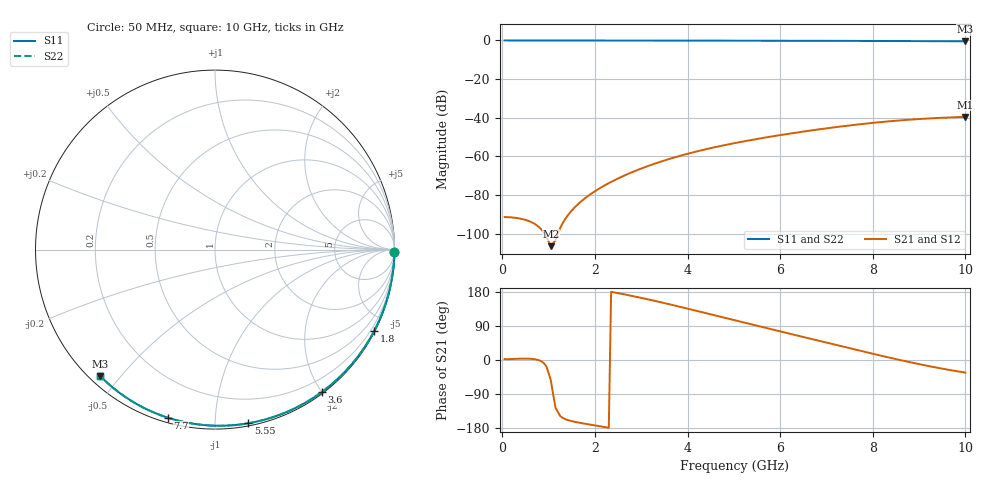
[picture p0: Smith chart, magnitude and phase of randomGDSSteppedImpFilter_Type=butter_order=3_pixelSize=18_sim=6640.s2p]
! freq	dB(S11)	phase(S11)	dB(S12)	phase(S12)
!  dB(S21)	phase(S21)	dB(S22)	phase(S22)
!S-par simulation data
#  GHz  S  DB  R 50
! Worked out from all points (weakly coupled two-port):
!   200 points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, 50 MHz to 10 GHz, reference 50 ohm
!   highest |S21| = -39.53 dB at 10 GHz (marker M1); lowest = -106.5 dB at 1.05 GHz (marker M2)
!   lowest |S11| = -0.4 dB at 10 GHz (marker M3), VSWR 40.21, Z = 1.49 - j22.2 ohm
!   |S11| at or under -10 dB: nowhere
!   |S22| runs from -0.4 to 0.0 dB; largest |S21 - S12| = 0
!   S11 on the Smith chart (normalised r, x): 50 MHz: open; 1.8 GHz: 0.04, -4.14; 3.6 GHz: 0.02, -2.00; 5.55 GHz: 0.02, -1.21; 7.7 GHz: 0.02, -0.76; 10 GHz: 0.03, -0.44
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0.05  -0.00 -0.8  -91.40 2.5  -91.40 2.5  -0.00 -0.8
0.55  -0.01 -8.4  -93.26 3.6  -93.26 3.6  -0.01 -8.4
1.05  -0.02 -16.0  -106.48 -54.9  -106.48 -54.9  -0.02 -16.0
1.75  -0.03 -26.4  -82.37 -167.4  -82.37 -167.4  -0.03 -26.4
1.8  -0.03 -27.1  -81.42 -168.4  -81.42 -168.4  -0.03 -27.1
1.85  -0.04 -27.9  -80.53 -169.5  -80.53 -169.5  -0.04 -27.9
1.9  -0.04 -28.6  -79.67 -170.5  -79.67 -170.5  -0.04 -28.6
2.05  -0.04 -30.8  -77.29 -173.6  -77.29 -173.6  -0.04 -30.8
2.25  -0.04 -33.7  -74.49 -177.9  -74.49 -177.9  -0.04 -33.7
2.65  -0.05 -39.5  -69.76 172.9  -69.76 172.9  -0.05 -39.6
3  -0.06 -44.6  -66.30 164.0  -66.30 164.0  -0.06 -44.6
3.4  -0.07 -50.2  -62.90 153.0  -62.90 153.0  -0.07 -50.2
3.6  -0.07 -53.0  -61.38 147.3  -61.38 147.3  -0.07 -53.0
4.3  -0.09 -62.7  -56.85 126.5  -56.85 126.5  -0.09 -62.7
5.05  -0.11 -72.7  -52.98 103.9  -52.98 103.9  -0.11 -72.7
5.55  -0.13 -79.2  -50.78 88.9  -50.78 88.9  -0.13 -79.2
6.1  -0.15 -86.2  -48.61 72.5  -48.61 72.5  -0.15 -86.2
6.7  -0.18 -93.7  -46.48 54.8  -46.48 54.8  -0.18 -93.7
7.7  -0.24 -105.7  -43.42 25.2  -43.42 25.2  -0.24 -105.7
8.35  -0.29 -113.4  -41.86 6.5  -41.86 6.5  -0.29 -113.4
9.15  -0.35 -122.6  -40.45 -14.6  -40.45 -14.6  -0.35 -122.6
10  -0.43 -132.2  -39.53 -33.2  -39.53 -33.2  -0.43 -132.2
